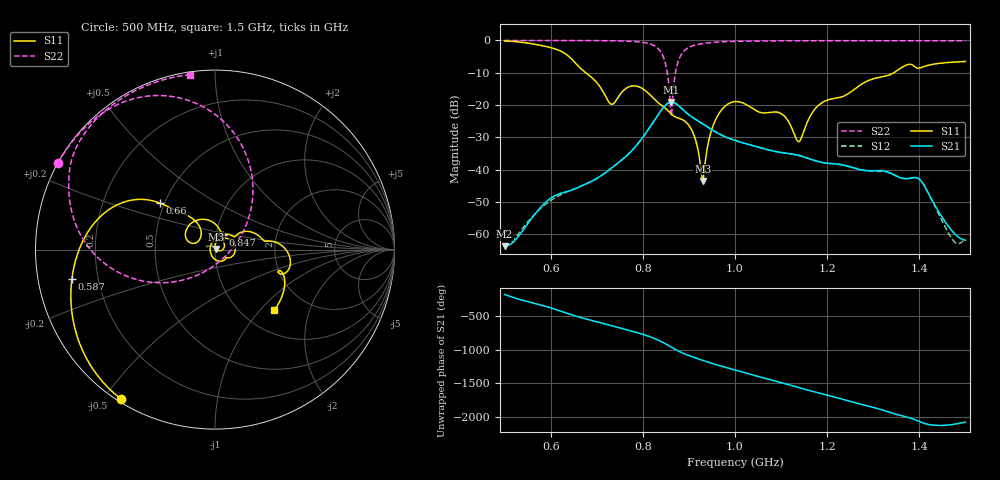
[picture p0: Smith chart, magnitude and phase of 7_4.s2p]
! TOUCHSTONE file generated by CST MICROWAVE STUDIO
! Date and time: Wed Oct 28 19:14:31 2020
! Project name: Scenario_1_Circular_Tissue_out_of_Line.cst
! Parameters = {dy1=-241.954; L_HA=400; MT=2.54; Rad_Dielectric=30; Rad_Lower=7.3; Rad_Upper=30; a_HA=580; a_WG=246; b_HA=500; b_WG=121; c_HA=0; c_WG=187; d_feed=85; dx1=693; h_feed=15; h_lower=18; h_upper=40}
! Header version: 2018
! Port assignment regex: !\s*Touchstone port\s*([0-9]+)\s*=\s*(CST MWS port|CST DS port)\s*([0-9]+|Zmin|Zmax)\s*\(\"(.*)\"\)(\s*mode\s*([0-9]+))?.*
! Touchstone port assignment:
! Touchstone port 1 = CST MWS port 1 ("")
! Touchstone port 2 = CST MWS port 2 ("")
# GHz S DB R 50
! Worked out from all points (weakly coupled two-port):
!   1001 points, 500 MHz to 1.5 GHz, reference 50 ohm
!   highest |S21| = -19.08 dB at 862 MHz (marker M1); lowest = -63.7 dB at 500 MHz (marker M2)
!   lowest |S11| = -43.5 dB at 930 MHz (marker M3), VSWR 1.01, Z = 50.5 + j0.414 ohm
!   |S11| at or under -10 dB: 676.1 MHz to 1.345 GHz (668.6 MHz wide, 66.2 % of centre)
!   |S22| runs from -23.5 to 0.0 dB; largest |S21 - S12| = 0.0004
!   S11 on the Smith chart (normalised r, x): 500 MHz: 0.01, -0.55; 587 MHz: 0.10, -0.10; 660 MHz: 0.47, +0.29; 847 MHz: 1.08, +0.18; 1.5 GHz: 1.39, -1.20
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0.5  -0.15 -122.2  -63.71 -177.7  -63.56 -178.7  -0.01 151.1
0.587  -1.78 -168.3  -50.39 9.9  -50.94 10.8  -0.02 145.1
0.633  -4.25 157.0  -46.90 -93.2  -47.06 -93.2  -0.03 141.5
0.66  -7.94 139.8  -45.50 -151.5  -45.47 -151.3  -0.04 139.1
0.667  -8.90 137.8  -45.05 -164.8  -45.05 -164.8  -0.04 138.4
0.731  -19.74 143.4  -39.66 80.1  -39.64 80.3  -0.11 130.9
0.78  -14.06 135.8  -33.53 -11.6  -33.55 -11.7  -0.31 121.0
0.834  -19.38 73.7  -22.85 -140.6  -22.85 -140.6  -2.66 88.2
0.847  -20.77 62.0  -20.39 174.6  -20.39 174.6  -6.15 66.3
0.862  -22.81 48.5  -19.08 114.7  -19.08 114.7  -23.46 -56.0
0.883  -24.35 31.5  -20.94 38.3  -20.92 38.3  -4.45 -170.9
0.91  -28.99 -8.1  -24.03 -33.8  -24.02 -33.6  -1.58 164.1
0.93  -43.48 37.7  -25.86 -81.6  -25.85 -81.6  -0.97 155.8
0.957  -24.83 71.1  -28.27 -140.5  -28.29 -140.4  -0.54 148.5
1  -18.95 5.8  -30.97 135.3  -30.97 135.3  -0.28 140.8
1.101  -22.75 -62.9  -34.72 -55.6  -34.72 -55.5  -0.13 129.9
1.138  -31.37 -178.4  -35.64 -126.9  -35.50 -126.7  -0.11 126.8
1.167  -22.54 78.8  -36.93 178.0  -36.95 177.8  -0.10 124.4
1.334  -10.75 9.3  -40.88 -133.2  -40.97 -131.8  -0.09 111.7
1.401  -8.52 -18.2  -43.08 83.2  -43.11 83.5  -0.10 106.5
1.472  -6.73 -37.9  -59.14 41.6  -61.68 33.6  -0.12 100.6
1.5  -6.51 -45.5  -61.85 77.1  -61.46 80.7  -0.13 98.2
